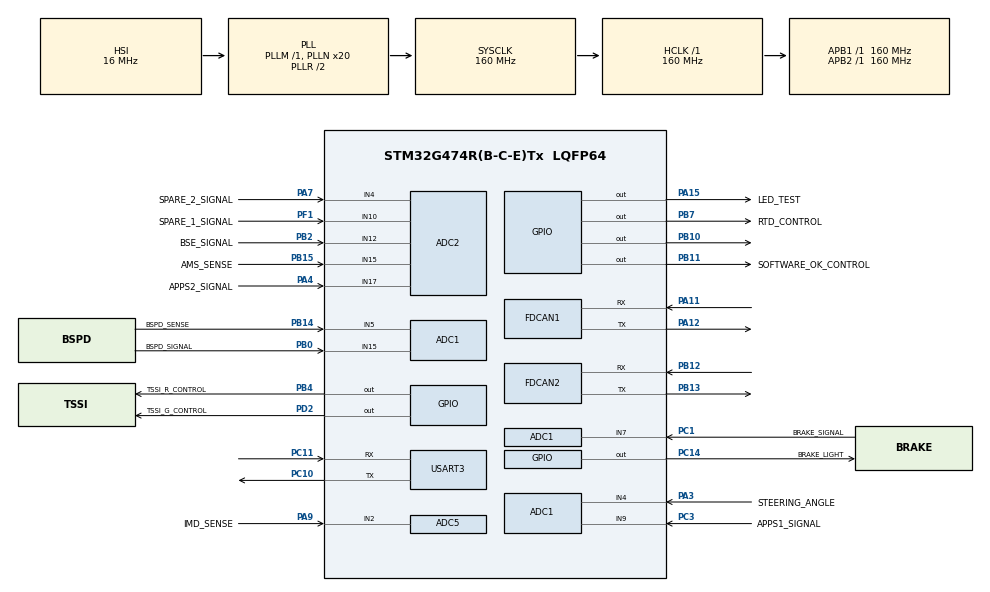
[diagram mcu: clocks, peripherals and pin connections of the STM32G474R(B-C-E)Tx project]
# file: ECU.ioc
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ADC1.Channel-10\#ChannelRegularConversion=ADC_CHANNEL_9
ADC1.Channel-11\#ChannelRegularConversion=ADC_CHANNEL_7
ADC1.Channel-12\#ChannelRegularConversion=ADC_CHANNEL_4
ADC1.Channel-13\#ChannelRegularConversion=ADC_CHANNEL_15
ADC1.Channel-14\#ChannelRegularConversion=ADC_CHANNEL_5
ADC1.ClockPrescaler=ADC_CLOCK_ASYNC_DIV8
ADC1.ContinuousConvMode=ENABLE
ADC1.DMAContinuousRequests=ENABLE
ADC1.NbrOfConversion=5
ADC1.NbrOfConversionFlag=1
ADC1.OffsetNumber-10\#ChannelRegularConversion=ADC_OFFSET_NONE
ADC1.OffsetNumber-11\#ChannelRegularConversion=ADC_OFFSET_NONE
ADC1.OffsetNumber-12\#ChannelRegularConversion=ADC_OFFSET_NONE
ADC1.OffsetNumber-13\#ChannelRegularConversion=ADC_OFFSET_NONE
ADC1.OffsetNumber-14\#ChannelRegularConversion=ADC_OFFSET_NONE
ADC1.OversamplingMode=ENABLE
ADC1.Rank-10\#ChannelRegularConversion=1
ADC1.Rank-11\#ChannelRegularConversion=2
ADC1.Rank-12\#ChannelRegularConversion=3
ADC1.Rank-13\#ChannelRegularConversion=4
ADC1.Rank-14\#ChannelRegularConversion=5
ADC1.Ratio=ADC_OVERSAMPLING_RATIO_256
ADC1.RightBitShift=ADC_RIGHTBITSHIFT_8
ADC1.SamplingTime-10\#ChannelRegularConversion=ADC_SAMPLETIME_92CYCLES_5
ADC1.SamplingTime-11\#ChannelRegularConversion=ADC_SAMPLETIME_92CYCLES_5
ADC1.SamplingTime-12\#ChannelRegularConversion=ADC_SAMPLETIME_92CYCLES_5
ADC1.SamplingTime-13\#ChannelRegularConversion=ADC_SAMPLETIME_92CYCLES_5
ADC1.SamplingTime-14\#ChannelRegularConversion=ADC_SAMPLETIME_92CYCLES_5
ADC1.master=1
ADC2.Channel-10\#ChannelRegularConversion=ADC_CHANNEL_10
ADC2.Channel-11\#ChannelRegularConversion=ADC_CHANNEL_4
ADC2.Channel-7\#ChannelRegularConversion=ADC_CHANNEL_17
ADC2.Channel-8\#ChannelRegularConversion=ADC_CHANNEL_12
ADC2.Channel-9\#ChannelRegularConversion=ADC_CHANNEL_15
ADC2.ClockPrescaler=ADC_CLOCK_ASYNC_DIV8
ADC2.ContinuousConvMode=ENABLE
ADC2.DMAContinuousRequests=ENABLE
ADC2.NbrOfConversion=5
ADC2.NbrOfConversionFlag=1
ADC2.OffsetNumber-10\#ChannelRegularConversion=ADC_OFFSET_NONE
ADC2.OffsetNumber-11\#ChannelRegularConversion=ADC_OFFSET_NONE
ADC2.OffsetNumber-7\#ChannelRegularConversion=ADC_OFFSET_NONE
ADC2.OffsetNumber-8\#ChannelRegularConversion=ADC_OFFSET_NONE
ADC2.OffsetNumber-9\#ChannelRegularConversion=ADC_OFFSET_NONE
ADC2.OversamplingMode=ENABLE
ADC2.Rank-10\#ChannelRegularConversion=4
ADC2.Rank-11\#ChannelRegularConversion=5
ADC2.Rank-7\#ChannelRegularConversion=1
ADC2.Rank-8\#ChannelRegularConversion=2
ADC2.Rank-9\#ChannelRegularConversion=3
ADC2.Ratio=ADC_OVERSAMPLING_RATIO_256
ADC2.RightBitShift=ADC_RIGHTBITSHIFT_8
ADC2.SamplingTime-10\#ChannelRegularConversion=ADC_SAMPLETIME_92CYCLES_5
ADC2.SamplingTime-11\#ChannelRegularConversion=ADC_SAMPLETIME_92CYCLES_5
ADC2.SamplingTime-7\#ChannelRegularConversion=ADC_SAMPLETIME_92CYCLES_5
ADC2.SamplingTime-8\#ChannelRegularConversion=ADC_SAMPLETIME_92CYCLES_5
ADC2.SamplingTime-9\#ChannelRegularConversion=ADC_SAMPLETIME_92CYCLES_5
ADC5.Channel-0\#ChannelRegularConversion=ADC_CHANNEL_2
ADC5.ContinuousConvMode=ENABLE
ADC5.DMAContinuousRequests=ENABLE
ADC5.NbrOfConversionFlag=1
ADC5.OffsetNumber-0\#ChannelRegularConversion=ADC_OFFSET_NONE
ADC5.OversamplingMode=ENABLE
ADC5.Rank-0\#ChannelRegularConversion=1
ADC5.Ratio=ADC_OVERSAMPLING_RATIO_256
ADC5.RightBitShift=ADC_RIGHTBITSHIFT_8
ADC5.SamplingTime-0\#ChannelRegularConversion=ADC_SAMPLETIME_92CYCLES_5
Dma.ADC1.0.Direction=DMA_PERIPH_TO_MEMORY
Dma.ADC1.0.EventEnable=DISABLE
Dma.ADC1.0.Instance=DMA1_Channel1
Dma.ADC1.0.MemDataAlignment=DMA_MDATAALIGN_HALFWORD
Dma.ADC1.0.MemInc=DMA_MINC_ENABLE
Dma.ADC1.0.Mode=DMA_CIRCULAR
Dma.ADC1.0.PeriphDataAlignment=DMA_PDATAALIGN_HALFWORD
Dma.ADC1.0.PeriphInc=DMA_PINC_DISABLE
Dma.ADC1.0.Polarity=HAL_DMAMUX_REQ_GEN_RISING
Dma.ADC1.0.Priority=DMA_PRIORITY_LOW
Dma.ADC1.0.RequestNumber=1
Dma.ADC1.0.SignalID=NONE
Dma.ADC1.0.SyncEnable=ENABLE
Dma.ADC1.0.SyncPolarity=HAL_DMAMUX_SYNC_RISING
Dma.ADC1.0.SyncRequestNumber=1
Dma.ADC1.0.SyncSignalID=NONE
Dma.ADC2.1.Direction=DMA_PERIPH_TO_MEMORY
Dma.ADC2.1.EventEnable=DISABLE
Dma.ADC2.1.Instance=DMA2_Channel1
Dma.ADC2.1.MemDataAlignment=DMA_MDATAALIGN_HALFWORD
Dma.ADC2.1.MemInc=DMA_MINC_ENABLE
Dma.ADC2.1.Mode=DMA_CIRCULAR
Dma.ADC2.1.PeriphDataAlignment=DMA_PDATAALIGN_HALFWORD
Dma.ADC2.1.PeriphInc=DMA_PINC_DISABLE
Dma.ADC2.1.Polarity=HAL_DMAMUX_REQ_GEN_RISING
Dma.ADC2.1.Priority=DMA_PRIORITY_LOW
Dma.ADC2.1.RequestNumber=1
Dma.ADC2.1.SignalID=NONE
Dma.ADC2.1.SyncEnable=DISABLE
Dma.ADC2.1.SyncPolarity=HAL_DMAMUX_SYNC_NO_EVENT
Dma.ADC2.1.SyncRequestNumber=1
Dma.ADC2.1.SyncSignalID=NONE
Dma.ADC5.2.Direction=DMA_PERIPH_TO_MEMORY
Dma.ADC5.2.EventEnable=DISABLE
Dma.ADC5.2.Instance=DMA1_Channel2
Dma.ADC5.2.MemDataAlignment=DMA_MDATAALIGN_HALFWORD
Dma.ADC5.2.MemInc=DMA_MINC_ENABLE
Dma.ADC5.2.Mode=DMA_CIRCULAR
Dma.ADC5.2.PeriphDataAlignment=DMA_PDATAALIGN_HALFWORD
Dma.ADC5.2.PeriphInc=DMA_PINC_DISABLE
Dma.ADC5.2.Polarity=HAL_DMAMUX_REQ_GEN_RISING
Dma.ADC5.2.Priority=DMA_PRIORITY_LOW
Dma.ADC5.2.RequestNumber=1
Dma.ADC5.2.SignalID=NONE
Dma.ADC5.2.SyncEnable=DISABLE
Dma.ADC5.2.SyncPolarity=HAL_DMAMUX_SYNC_NO_EVENT
Dma.ADC5.2.SyncRequestNumber=1
Dma.ADC5.2.SyncSignalID=NONE
Dma.Request0=ADC1
Dma.Request1=ADC2
Dma.Request2=ADC5
FDCAN1.AutoRetransmission=ENABLE
FDCAN1.CalculateBaudRateNominal=1000000
FDCAN1.CalculateTimeBitNominal=1000
FDCAN1.CalculateTimeQuantumNominal=6.25
FDCAN1.DataSyncJumpWidth=16
FDCAN1.DataTimeSeg1=9
FDCAN1.DataTimeSeg2=10
FDCAN1.ExtFiltersNbr=3
FDCAN1.NominalPrescaler=1
FDCAN1.NominalSyncJumpWidth=16
FDCAN1.NominalTimeSeg1=119
FDCAN1.NominalTimeSeg2=40
FDCAN1.ProtocolException=ENABLE
FDCAN2.AutoRetransmission=ENABLE
FDCAN2.CalculateBaudRateNominal=1000000
FDCAN2.CalculateTimeBitNominal=1000
FDCAN2.CalculateTimeQuantumNominal=6.25
FDCAN2.DataSyncJumpWidth=2
FDCAN2.DataTimeSeg1=14
FDCAN2.DataTimeSeg2=5
FDCAN2.ExtFiltersNbr=2
FDCAN2.FrameFormat=FDCAN_FRAME_FD_BRS
FDCAN2.NominalPrescaler=1
FDCAN2.NominalSyncJumpWidth=16
FDCAN2.NominalTimeSeg1=119
FDCAN2.NominalTimeSeg2=40
FDCAN2.ProtocolException=ENABLE
Mcu.Family=STM32G4
Mcu.Name=STM32G474R(B-C-E)Tx
Mcu.Package=LQFP64
NVIC.ADC1_2_IRQn=true\:15\:0\:true\:false\:true\:true\:true\:true
NVIC.ADC5_IRQn=true\:15\:0\:true\:false\:true\:true\:true\:true
NVIC.DMA1_Channel1_IRQn=true\:0\:0\:false\:false\:true\:false\:true\:true
NVIC.DMA1_Channel2_IRQn=true\:0\:0\:false\:false\:true\:false\:true\:true
NVIC.DMA2_Channel1_IRQn=true\:0\:0\:false\:false\:true\:false\:true\:true
NVIC.DMAMUX_OVR_IRQn=true\:0\:0\:false\:false\:true\:false\:true\:true
NVIC.FDCAN1_IT0_IRQn=true\:15\:0\:true\:false\:true\:true\:true\:true
NVIC.FDCAN1_IT1_IRQn=true\:15\:0\:true\:false\:true\:true\:true\:true
NVIC.FDCAN2_IT0_IRQn=true\:15\:0\:true\:false\:true\:true\:true\:true
NVIC.FDCAN2_IT1_IRQn=true\:15\:0\:true\:false\:true\:true\:true\:true
NVIC.PriorityGroup=NVIC_PRIORITYGROUP_4
NVIC.TIM6_DAC_IRQn=true\:15\:0\:true\:false\:true\:true\:true\:true
PA11.Mode=FDCAN_Activate
PA11.Signal=FDCAN1_RX
PA12.Mode=FDCAN_Activate
PA12.Signal=FDCAN1_TX
PA13.Mode=Trace_Asynchronous_SW
PA13.Signal=SYS_JTMS-SWDIO
PA14.Mode=Trace_Asynchronous_SW
PA14.Signal=SYS_JTCK-SWCLK
PA15.GPIO_Label=LED_TEST
PA15.Signal=GPIO_Output
PA3.GPIO_Label=STEERING_ANGLE
PA3.Mode=IN4-Single-Ended
PA3.Signal=ADC1_IN4
PA4.GPIO_Label=APPS2_SIGNAL
PA4.Mode=IN17-Single-Ended
PA4.Signal=ADC2_IN17
PA7.GPIO_Label=SPARE_2_SIGNAL
PA7.Mode=IN4-Single-Ended
PA7.Signal=ADC2_IN4
PA9.GPIO_Label=IMD_SENSE
PA9.Mode=IN2-Single-Ended
PA9.Signal=ADC5_IN2
PB0.GPIO_Label=BSPD_SIGNAL
PB0.Mode=IN15-Single-Ended
PB0.Signal=ADC1_IN15
PB10.Signal=GPIO_Output
PB11.GPIO_Label=SOFTWARE_OK_CONTROL
PB11.Signal=GPIO_Output
PB12.Mode=FDCAN_Activate
PB12.Signal=FDCAN2_RX
PB13.Mode=FDCAN_Activate
PB13.Signal=FDCAN2_TX
PB14.GPIO_Label=BSPD_SENSE
PB14.Mode=IN5-Single-Ended
PB14.Signal=ADC1_IN5
PB15.GPIO_Label=AMS_SENSE
PB15.Mode=IN15-Single-Ended
PB15.Signal=ADC2_IN15
PB2.GPIO_Label=BSE_SIGNAL
PB2.Mode=IN12-Single-Ended
PB2.Signal=ADC2_IN12
PB3.Mode=Trace_Asynchronous_SW
PB3.Signal=SYS_JTDO-SWO
PB4.GPIO_Label=TSSI_R_CONTROL
PB4.Signal=GPIO_Output
PB7.GPIO_Label=RTD_CONTROL
PB7.Signal=GPIO_Output
PC1.GPIO_Label=BRAKE_SIGNAL
PC1.Mode=IN7-Single-Ended
PC1.Signal=ADC1_IN7
PC10.Mode=Asynchronous
PC10.Signal=USART3_TX
PC11.Mode=Asynchronous
PC11.Signal=USART3_RX
PC14-OSC32_IN.GPIO_Label=BRAKE_LIGHT
PC14-OSC32_IN.Signal=GPIO_Output
PC3.GPIO_Label=APPS1_SIGNAL
PC3.Mode=IN9-Single-Ended
PC3.Signal=ADC1_IN9
PD2.GPIO_Label=TSSI_G_CONTROL
PD2.Signal=GPIO_Output
PF1-OSC_OUT.GPIO_Label=SPARE_1_SIGNAL
PF1-OSC_OUT.Mode=IN10-Single-Ended
PF1-OSC_OUT.Signal=ADC2_IN10
PG10-NRST.Signal=EVENTOUT
ProjectManager.HeapSize=0x200
ProjectManager.StackSize=0x400
ProjectManager.TargetToolchain=CMake
RCC.ADC12Freq_Value=160000000
RCC.ADC345Freq_Value=160000000
RCC.AHBFreq_Value=160000000
RCC.APB1Freq_Value=160000000
RCC.APB1TimFreq_Value=160000000
RCC.APB2Freq_Value=160000000
RCC.APB2TimFreq_Value=160000000
RCC.CortexFreq_Value=160000000
RCC.EXTERNAL_CLOCK_VALUE=12288000
RCC.HCLKFreq_Value=160000000
RCC.HSE_VALUE=8000000
RCC.HSI48_VALUE=48000000
RCC.HSI_VALUE=16000000
RCC.LSE_VALUE=32768
RCC.PLLN=20
RCC.SYSCLKFreq_VALUE=160000000
RCC.SYSCLKSource=RCC_SYSCLKSOURCE_PLLCLK
RCC.USBFreq_Value=160000000
RCC.VCOOutputFreq_Value=320000000
TIM6.PeriodNoDither=624
TIM6.Prescaler=159
USART3.VirtualMode-Asynchronous=VM_ASYNC
VP_SYS_VS_DBSignals.Mode=DisableDeadBatterySignals
VP_TIM6_VS_ClockSourceINT.Mode=Enable_Timer
board=custom

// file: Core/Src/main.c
/* USER CODE BEGIN Header */
/**
 ******************************************************************************
 * @file           : main.c
 * @brief          : Main program body
 ******************************************************************************
 * @attention
 *
 * Copyright (c) 2025 STMicroelectronics.
 * All rights reserved.
 *
 * This software is licensed under terms that can be found in the LICENSE file
 * in the root directory of this software component.
 * If no LICENSE file comes with this software, it is provided AS-IS.
 *
 ******************************************************************************
 */
/* USER CODE END Header */
#include "main.h"

#include "Buzzer.h"
#include "GRCAN_BUS_ID.h"
#include "GRCAN_MSG_DATA.h"
#include "GRCAN_NODE_ID.h"
#include "StateData.h"
#include "StateTicks.h"
#include "adc.h"
#include "dma.h"
#include "fdcan.h"
#include "gpio.h"
#include "tim.h"
#include "usart.h"

/* USER CODE BEGIN Includes */
#include <string.h>

#include "CANdler.h"
#include "CANutils.h"
#include "CubeCAN.h"
#include "Lights.h"
#include "Logomatic.h"
#include "Pinging.h"
#include "StateData.h"
#include "StateTicks.h"
#include "StateUtils.h"
#include "stm32g4xx_hal.h"

// #include "vcp.h"
/* USER CODE END Includes */

/* USER CODE BEGIN PV */

// VCP_Config vcp_config = {.baud_rate = 2000000,
// 			 .clock_source = VCP_CLOCK_PCLK,
// 			 .gpio_tx_rx_pin_mask = LL_GPIO_PIN_2 | LL_GPIO_PIN_3,
// 			 .bus_port = VCP_Port_A,
// 			 .parity = VCP_Parity_None,
// 			 .prescaler = VCP_Prescalar_Div2,
// 			 .stop_bits = VCP_StopBits_1,
// 			 .oversampling = VCP_Oversampling_16,
// 			 .tx_fifo_threshold = VCP_Threshold_1_8,
// 			 .rx_fifo_threshold = VCP_Threshold_1_8,
// 			 .alternate_function = LL_GPIO_AF_7,
// 			 .rx_callback = NULL};

#define NUM_SIGNALS_ADC1 5
#define NUM_SIGNALS_ADC2 5
#define NUM_SIGNALS_ADC5 1

#define NUM_SIGNALS (NUM_SIGNALS_ADC1 + NUM_SIGNALS_ADC2 + NUM_SIGNALS_ADC5)
volatile uint16_t ADC_buffers[NUM_SIGNALS] = {0};
uint16_t ADC_outputs[NUM_SIGNALS] = {0};

// STATE DATA
extern ECU_StateData stateLump;

/* USER CODE END PV */

void SystemClock_Config(void);

/* USER CODE BEGIN 0 */

void Update_ADC_to_StateData(void)
{
	stateLump.bse_signal = ADC_outputs[ADC_BUFFER_SIG_BSE];
	stateLump.bspd_signal = ADC_outputs[ADC_BUFFER_SIG_BSPD];
	stateLump.APPS1_Signal = ADC_outputs[ADC_BUFFER_SIG_APPS1];
	stateLump.APPS2_Signal = ADC_outputs[ADC_BUFFER_SIG_APPS2];
	stateLump.Brake_Signal = ADC_outputs[ADC_BUFFER_SIG_BRAKE];
	stateLump.aux_signal = ADC_outputs[ADC_BUFFER_SIG_AUX];
	stateLump.steering_angle_signal = ADC_outputs[ADC_BUFFER_SIG_STEERING_ANGLE];

	stateLump.bspd_sense = ADC_outputs[ADC_BUFFER_SENSE_BSPD] / 4095.0f * 3.3f;
	stateLump.imd_sense = ADC_outputs[ADC_BUFFER_SENSE_IMD] / 4095.0f * 3.3f;
	stateLump.bms_sense = ADC_outputs[ADC_BUFFER_SENSE_BMS] / 4095.0f * 3.3f;
}

void HAL_TIM_PeriodElapsedCallback(TIM_HandleTypeDef *htim)
{
	if (htim->Instance == TIM6) {
		CubeCAN_Tick();
	}
}

/* USER CODE END 0 */

int main(void)
{

	/* MCU Configuration--------------------------------------------------------*/

	/* Reset of all peripherals, Initializes the Flash interface and the Systick. */
	HAL_Init();

	/* Configure the system clock */
	SystemClock_Config();

	/* Initialize all configured peripherals */
	MX_GPIO_Init();
	MX_DMA_Init();
	MX_ADC1_Init();
	MX_ADC2_Init();
	MX_FDCAN1_Init();
	MX_FDCAN2_Init();
	MX_TIM6_Init();
	MX_ADC5_Init();
	MX_USART3_UART_Init();
	/* USER CODE BEGIN 2 */
	Logomatic_SetLogLevel(LogLevel_Debug);
	// Setup_VCP(&vcp_config);

	// Initialize CAN
	CubeCAN_Config primaryCanConfig = {.rx_callback = CANdler_Callback, .context.busid_user_context = GRCAN_BUS_PRIMARY, .sending_node_id = GRCAN_ECU};

	CubeCAN_Config dataCanConfig = {.rx_callback = CANdler_Callback, .context.busid_user_context = GRCAN_BUS_DATA, .sending_node_id = GRCAN_ECU};

	stateLump.primary_can = CubeCAN_Entrance(&hfdcan1, &primaryCanConfig);
	if (stateLump.primary_can == NULL) {
		LOGOMATIC_CRITICAL("Failed to initialize primary CAN handle\n");
		Error_Handler();
	}

	stateLump.data_can = CubeCAN_Entrance(&hfdcan2, &dataCanConfig);
	if (stateLump.data_can == NULL) {
		LOGOMATIC_CRITICAL("Failed to initialize data CAN handle\n");
		Error_Handler();
	}

	// Initialize Timer
	HAL_TIM_Base_Start_IT(&htim6);

	if (HAL_ADCEx_Calibration_Start(&hadc1, ADC_SINGLE_ENDED) != HAL_OK || HAL_ADCEx_Calibration_Start(&hadc2, ADC_SINGLE_ENDED) != HAL_OK ||
	    HAL_ADCEx_Calibration_Start(&hadc5, ADC_SINGLE_ENDED) != HAL_OK || HAL_ADC_Start_DMA(&hadc1, (uint32_t *)ADC_buffers, NUM_SIGNALS_ADC1) != HAL_OK ||
	    HAL_ADC_Start_DMA(&hadc2, (uint32_t *)(ADC_buffers + NUM_SIGNALS_ADC1), NUM_SIGNALS_ADC2) != HAL_OK ||
	    HAL_ADC_Start_DMA(&hadc5, (uint32_t *)(ADC_buffers + NUM_SIGNALS_ADC1 + NUM_SIGNALS_ADC2), NUM_SIGNALS_ADC5) != HAL_OK) {

		LOGOMATIC_CRITICAL("Failed to start ADC calibration or DMA\n");
		Error_Handler();
	}

	// Disabling DMA intterrupts for ADC1, ADC2, ADC5
	__HAL_DMA_DISABLE_IT(hadc1.DMA_Handle, DMA_IT_HT | DMA_IT_TC);
	__HAL_DMA_DISABLE_IT(hadc2.DMA_Handle, DMA_IT_HT | DMA_IT_TC);
	__HAL_DMA_DISABLE_IT(hadc5.DMA_Handle, DMA_IT_HT | DMA_IT_TC);

	LOGOMATIC_INFO("Boot completed at %lu ms\n", MillisecondsSinceBoot());

	while (MillisecondsSinceBoot() < 5000) { // Notes per Andrey and Ryan
		BrakeLightControl(&stateLump);
		// GRCAN_DASH_CONFIG_MSG message = {.led_latch_flags = (!bspdFailure(stateLump) << 5) | (!imdFailure(stateLump) << 4) | (!bmsFailure(stateLump) << 3) | (bspdFailure(stateLump) << 2) |
		//					    (imdFailure(stateLump) << 1) | (bmsFailure(stateLump) << 0)};

		GRCAN_DASH_CONFIG_MSG message = {.led_latch_flags = (true << 5) | (true << 4) | (true << 3) | (false << 2) | (false << 1) | (false << 0)};

		message.led_latch_flags = ~message.led_latch_flags; // not to spec, needed as of the current iteration of the dash panel code

		ECU_CAN_Send(GRCAN_BUS_PRIMARY, GRCAN_Dash_Panel, GRCAN_DASH_CONFIG, &message, sizeof(message));

		LL_mDelay(1);
		Update_ADC_to_StateData();
	}

	LOGOMATIC_INFO("Initial ADC readings stabilized at %lu ms\n", MillisecondsSinceBoot());

	/* USER CODE END 2 */

	/* Infinite loop */
	/* USER CODE BEGIN WHILE */
	while (1) {
		// read_digital();

		static uint32_t delay_timer;
		static uint32_t ping_timer;
		static uint32_t adc_timer;

		if (MillisecondsSinceBoot() >= adc_timer) {
			adc_timer = MillisecondsSinceBoot() + 1;
			Update_ADC_to_StateData();
			buzzer_tick();
		}

		if (MillisecondsSinceBoot() >= delay_timer) {
			delay_timer = MillisecondsSinceBoot() + (MAIN_LOOP_PERIOD_US / 1000);

			ECU_State_Tick();

			SendECUStateDataOverCAN(&stateLump);
			SendECUAnalogDataOverCAN(&stateLump);

			if (MillisecondsSinceBoot() >= ping_timer) {
				ping_timer = MillisecondsSinceBoot() + (MAIN_LOOP_PERIOD_US / 500);
				pingAll();
			}

			lightControl(&stateLump);

			// Send_VCP_APPS();
		}

		/* USER CODE END WHILE */

	}
}

void SystemClock_Config(void)
{
	RCC_OscInitTypeDef RCC_OscInitStruct = {0};
	RCC_ClkInitTypeDef RCC_ClkInitStruct = {0};

	/** Configure the main internal regulator output voltage
	 */
	HAL_PWREx_ControlVoltageScaling(PWR_REGULATOR_VOLTAGE_SCALE1_BOOST);

	/** Initializes the RCC Oscillators according to the specified parameters
	 * in the RCC_OscInitTypeDef structure.
	 */
	RCC_OscInitStruct.OscillatorType = RCC_OSCILLATORTYPE_HSI;
	RCC_OscInitStruct.HSIState = RCC_HSI_ON;
	RCC_OscInitStruct.HSICalibrationValue = RCC_HSICALIBRATION_DEFAULT;
	RCC_OscInitStruct.PLL.PLLState = RCC_PLL_ON;
	RCC_OscInitStruct.PLL.PLLSource = RCC_PLLSOURCE_HSI;
	RCC_OscInitStruct.PLL.PLLM = RCC_PLLM_DIV1;
	RCC_OscInitStruct.PLL.PLLN = 20;
	RCC_OscInitStruct.PLL.PLLP = RCC_PLLP_DIV2;
	RCC_OscInitStruct.PLL.PLLQ = RCC_PLLQ_DIV2;
	RCC_OscInitStruct.PLL.PLLR = RCC_PLLR_DIV2;
	if (HAL_RCC_OscConfig(&RCC_OscInitStruct) != HAL_OK) {
		Error_Handler();
	}

	/** Initializes the CPU, AHB and APB buses clocks
	 */
	RCC_ClkInitStruct.ClockType = RCC_CLOCKTYPE_HCLK | RCC_CLOCKTYPE_SYSCLK | RCC_CLOCKTYPE_PCLK1 | RCC_CLOCKTYPE_PCLK2;
	RCC_ClkInitStruct.SYSCLKSource = RCC_SYSCLKSOURCE_PLLCLK;
	RCC_ClkInitStruct.AHBCLKDivider = RCC_SYSCLK_DIV1;
	RCC_ClkInitStruct.APB1CLKDivider = RCC_HCLK_DIV1;
	RCC_ClkInitStruct.APB2CLKDivider = RCC_HCLK_DIV1;

	if (HAL_RCC_ClockConfig(&RCC_ClkInitStruct, FLASH_LATENCY_4) != HAL_OK) {
		Error_Handler();
	}
}

void Error_Handler(void)
{
	/* USER CODE BEGIN Error_Handler_Debug */
	/* User can add his own implementation to report the HAL error return
	 * state */
	__disable_irq();
	while (1) {
		LOGOMATIC_CRITICAL("Error Handler entered at %lu ms\n", MillisecondsSinceBoot());
	}
	/* USER CODE END Error_Handler_Debug */
}
#ifdef USE_FULL_ASSERT
/**
 * @brief  Reports the name of the source file and the source line number
 *         where the assert_param error has occurred.
 * @param  file: pointer to the source file name
 * @param  line: assert_param error line source number
 * @retval None
 */
void assert_failed(uint8_t *file, uint32_t line)
{
	/* USER CODE BEGIN 6 */
	LOGOMATIC_ERROR("Assertion failed: file %s on line %d\r\n", file, (int)line);
	/* USER CODE END 6 */
}
#endif /* USE_FULL_ASSERT */
